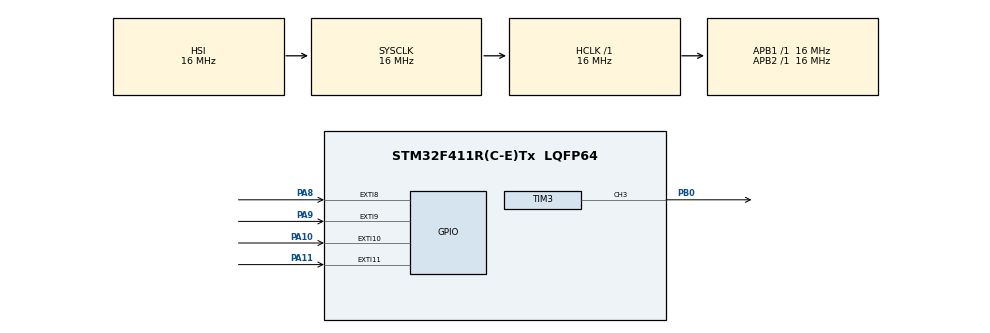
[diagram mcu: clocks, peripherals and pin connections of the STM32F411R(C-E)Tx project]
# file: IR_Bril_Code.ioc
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Mcu.Family=STM32F4
Mcu.Name=STM32F411R(C-E)Tx
Mcu.Package=LQFP64
NVIC.EXTI15_10_IRQn=true\:0\:0\:false\:false\:true\:true\:true\:true
NVIC.EXTI9_5_IRQn=true\:0\:0\:false\:false\:true\:true\:true\:true
NVIC.PriorityGroup=NVIC_PRIORITYGROUP_4
NVIC.TIM4_IRQn=true\:0\:0\:false\:false\:true\:true\:true\:true
PA10.GPIO_ModeDefaultEXTI=GPIO_MODE_IT_RISING_FALLING
PA10.GPIO_PuPd=GPIO_PULLUP
PA10.Signal=GPXTI10
PA11.GPIO_ModeDefaultEXTI=GPIO_MODE_IT_RISING_FALLING
PA11.GPIO_PuPd=GPIO_PULLUP
PA11.Signal=GPXTI11
PA8.GPIO_ModeDefaultEXTI=GPIO_MODE_IT_RISING_FALLING
PA8.GPIO_PuPd=GPIO_PULLUP
PA8.Signal=GPXTI8
PA9.GPIO_ModeDefaultEXTI=GPIO_MODE_IT_RISING_FALLING
PA9.GPIO_PuPd=GPIO_PULLUP
PA9.Signal=GPXTI9
PB0.Signal=S_TIM3_CH3
ProjectManager.HeapSize=0x200
ProjectManager.StackSize=0x400
ProjectManager.TargetToolchain=STM32CubeIDE
RCC.AHBFreq_Value=16000000
RCC.APB1Freq_Value=16000000
RCC.APB2Freq_Value=16000000
RCC.CortexFreq_Value=16000000
RCC.HSE_VALUE=25000000
RCC.HSI_VALUE=16000000
RCC.LSE_VALUE=32768
RCC.SYSCLKFreq_VALUE=16000000
RCC.VCOOutputFreq_Value=192000000
SH.S_TIM3_CH3.0=TIM3_CH3,PWM Generation3 CH3
TIM1.AutoReloadPreload=TIM_AUTORELOAD_PRELOAD_ENABLE
TIM1.Prescaler=16-1
TIM3.AutoReloadPreload=TIM_AUTORELOAD_PRELOAD_ENABLE
TIM3.Channel-PWM\ Generation3\ CH3=TIM_CHANNEL_3
TIM3.OC3Preload_PWM=DISABLE
TIM3.Period=10000-1
TIM3.Prescaler=16-1
TIM4.Period=10000
TIM4.Prescaler=16
VP_TIM1_VS_ClockSourceINT.Mode=Internal
VP_TIM3_VS_ClockSourceINT.Mode=Internal
VP_TIM4_VS_ClockSourceINT.Mode=Internal
VP_TIM5_VS_ClockSourceINT.Mode=Internal
board=custom

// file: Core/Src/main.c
/* USER CODE BEGIN Header */
/**
 ******************************************************************************
 * @file           : main.c
 * @brief          : Main program body
 ******************************************************************************
 * @attention
 *
 * Copyright (c) 2024 STMicroelectronics.
 * All rights reserved.
 *
 * This software is licensed under terms that can be found in the LICENSE file
 * in the root directory of this software component.
 * If no LICENSE file comes with this software, it is provided AS-IS.
 *
 ******************************************************************************
 */
/* USER CODE END Header */
#include "main.h"

/* USER CODE BEGIN Includes */
#include <stdio.h>
#include <math.h>
/* USER CODE END Includes */

/* USER CODE BEGIN PM */
#define SHORT_LOWER 500
#define SHORT_UPPER 1500
#define LONG_LOWER 1500
#define LONG_UPPER 2500
#define CAPTURED_SIZE 16		// message size including single startbit
/* USER CODE END PM */

TIM_HandleTypeDef htim1;
TIM_HandleTypeDef htim3;
TIM_HandleTypeDef htim4;
TIM_HandleTypeDef htim5;

/* USER CODE BEGIN PV */
uint8_t PDLC_intensity = 0; // varies between 0 and 60
uint16_t PDLC_setpoint = 0;
uint16_t PDLC_realpoint = 0;

uint32_t debug_value = 0;

struct Receiver {
//	uint32_t data[CAPTURED_SIZE];
	uint16_t data;
	uint32_t time_start;		// 0
	uint32_t time_stop;			// 0
	uint8_t first_interrupt;	// 1
	uint32_t captured[64];
	uint8_t position;			// 0
	uint8_t bit_count;			// 0
	uint32_t state;				// 0
	uint32_t start_state;		// 0

	uint8_t timeout_counter;	// 0
} Receiver1, Receiver2, Receiver3, Receiver4;

uint8_t flags = 0;
/* USER CODE END PV */

void SystemClock_Config(void);
static void MX_GPIO_Init(void);
static void MX_TIM1_Init(void);
static void MX_TIM5_Init(void);
static void MX_TIM3_Init(void);
static void MX_TIM4_Init(void);

/* USER CODE BEGIN 0 */
void IR_Timeout(struct Receiver *Rec) {	// increments IR Receivers timeout counter and checks if timeout has reached threshold
	if (Rec->timeout_counter > TIMEOUT_THRESHOLD) {// checks if counter of timeout has reached threshold
		Rec->data = 0;					// resets data of receiver
	} else {
		Rec->timeout_counter++;		// increments counter of timeout
	}
}

void HAL_TIM_PeriodElapsedCallback(TIM_HandleTypeDef *htim) {
//	TIM3->CCR3 = (Receiver4.data >> 1) * 40;// !WIP! updates dutycycle of PDLC PWM from received data (only receiver4 for now)

	IR_Timeout(&Receiver1);	// handles calcs and compares for IR timeout of receiver
	IR_Timeout(&Receiver2);
	IR_Timeout(&Receiver3);
	IR_Timeout(&Receiver4);

	uint8_t PDLC_candidate = Receiver1.data >> 1;	// writes data to PDLC_Candidate
	if(Receiver2.data > PDLC_candidate && Receiver2.data < 502) {			// checks if data Receiver2 is greater than PDLC_candidate
		PDLC_candidate = Receiver2.data >> 1;		// updates PDLC_candidate
	}
	if(Receiver3.data > PDLC_candidate && Receiver3.data < 502) {			// checks if data Receiver3 is greater than PDLC_candidate
		PDLC_candidate = Receiver3.data >> 1;		// updates PDLC_candidate
	}
	if(Receiver4.data > PDLC_candidate && Receiver4.data < 502) {			// checks if data Receiver4 is greater than PDLC_candidate
		PDLC_candidate = Receiver4.data >> 1;		// updates PDLC_candidate
	}

	PDLC_setpoint = PDLC_candidate * 40;			// updates PDLC_setpoint with 40 times the PDLC_candidate

	debug_value = (1.0-exp((double)((PDLC_setpoint/10000.0)*-2.1)))*10000;
	PDLC_setpoint = debug_value;

	if (PDLC_realpoint < PDLC_setpoint){			// checks if PDLC_realpoint is less than PDLC_setpoint
			PDLC_realpoint+= FADEIN_SPEED;				// increments PDLC_realpoint with FADEIN_SPEED
		} else if (PDLC_realpoint > PDLC_setpoint){		// checks if PDLC_realpoint is greater than PDLC_setpoint
			PDLC_realpoint-= FADEIN_SPEED;				// decrements PDLC_realpoint with FADEIN_SPEED
		}
	TIM3->CCR3 = PDLC_realpoint;					// sets timer for new dutycycle
}		// linerisation:

void IR_Receive_Handler(struct Receiver *Rec) {
	int elapsed = 0;
	if (Rec->first_interrupt == 1) {	// only runs once
		Rec->time_start = TIM1->CNT;	// saves first start time
		Rec->first_interrupt = 0;
	} else {
		Rec->time_stop = TIM1->CNT;	// saves stop time
		if (Rec->time_start > Rec->time_stop) {	// checks if overflowed
			elapsed = (0xFFFF - Rec->time_start) + Rec->time_stop;// calcs elapsed time
		} else {
			elapsed = Rec->time_stop - Rec->time_start;	// calcs elapsed time
		}
		Rec->time_start = Rec->time_stop;// saves starttime to stop time for next interrupt
	}
	Rec->captured[Rec->position] = elapsed;	// output buffer for data

	if (Rec->start_state) {
		switch (Rec->state) {
		case 0:
			if (elapsed > SHORT_LOWER && elapsed < SHORT_UPPER) {// checks if elapsed short
				Rec->state = 1;
			} else {	// unexpected behaviour : exit statemachine and reset
//								Rec->state = 0;		// NOTE : if commented code works, if not it enters for some reason
//								Rec->bit_count = 0;
//								Rec->start_state = 0;
			}
			break;
		case 1:
			if (elapsed > SHORT_LOWER && elapsed < SHORT_UPPER) {// checks if elapsed short
				Rec->state = 2;
			} else if (elapsed > LONG_LOWER && elapsed < LONG_UPPER) {// checks if elapsed long
				Rec->state = 3;
			} else {	// unexpected behaviour : exit statemachine and reset
				Rec->state = 0;	// NOTE : if commented code works, if not it enters for some reason
				Rec->bit_count = 0;
				Rec->start_state = 0;
				break;
			}
			Rec->data |= 1 << Rec->bit_count;	// write to data
			Rec->bit_count++;// increment the count of the bits already received
			if (Rec->bit_count == CAPTURED_SIZE) {
				Rec->state = 0;
				Rec->bit_count = 0;
				Rec->start_state = 0;
				Rec->timeout_counter = 0;
			}
//			if (Rec->bit_count > CAPTURED_SIZE) {// unexpected behaviour : exit statemachine and reset
//				Rec->state = 0;
//				Rec->bit_count = 0;
//				Rec->start_state = 0;
//			}		// commented out because this case will not happen
			break;
		case 2:
			if (elapsed > SHORT_LOWER && elapsed < SHORT_UPPER) {// checks if elapsed short
				Rec->state = 1;
			} else {	// unexpected behaviour : exit statemachine and reset
				Rec->state = 0;
				Rec->bit_count = 0;
				Rec->start_state = 0;
			}
			break;
		case 3:
			if (elapsed > SHORT_LOWER && elapsed < SHORT_UPPER) {// checks if elapsed short
				Rec->state = 4;
			} else if (elapsed > LONG_LOWER && elapsed < LONG_UPPER) {// checks if elapsed long
				Rec->state = 1;
			} else {	// unexpected behaviour : exit statemachine and reset
				Rec->state = 0;
				Rec->bit_count = 0;
				Rec->start_state = 0;
				break;
			}
			Rec->data &= ~(1 << Rec->bit_count);	// write to data
			Rec->bit_count++;// increment the count of the bits already received
			if (Rec->bit_count == CAPTURED_SIZE) {
				Rec->state = 0;
				Rec->bit_count = 0;
				Rec->start_state = 0;
				Rec->timeout_counter = 0;
			}
//			if (Rec->bit_count > CAPTURED_SIZE) {// unexpected behaviour : exit statemachine and reset
//				Rec->state = 0;
//				Rec->bit_count = 0;
//				Rec->start_state = 0;
//			}		// commented out because this case will not happen
			break;
		case 4:
			if (elapsed > SHORT_LOWER && elapsed < SHORT_UPPER) {// checks if elapsed short
				Rec->state = 3;
			} else {	// unexpected behaviour : exit statemachine and reset
				Rec->state = 0;
				Rec->bit_count = 0;
				Rec->start_state = 0;
			}
			break;
		}

	}

	if (elapsed > 2500) {// checks if "breakfield" is detected and enables the statemachine
		Rec->start_state = 1;
	}

	Rec->position++;	// increments position of buffer
	if (Rec->position > 63) {// handles overflow of buffer, 63 is determined by size captured array
		Rec->position = 0;	// makes buffer circular
	}
}

void init_IR_receiver(struct Receiver *Rec_init) {// sets standard values for structs
	Rec_init->time_start = 0;			// 0
	Rec_init->time_stop = 0;			// 0
	Rec_init->first_interrupt = 1;		// 1
	Rec_init->position = 0;				// 0
	Rec_init->bit_count = 0;			// 0
	Rec_init->state = 0;				// 0
	Rec_init->start_state = 0;			// 0
	Rec_init->timeout_counter = 0;		// 0
}
/* USER CODE END 0 */

int main(void) {

	/* MCU Configuration--------------------------------------------------------*/

	/* Reset of all peripherals, Initializes the Flash interface and the Systick. */
	HAL_Init();

	/* USER CODE BEGIN Init */
	__HAL_RCC_TIM1_CLK_ENABLE();	// does not work without it
	TIM1->CR1 = TIM_CR1_CEN;	// does not work without it

	init_IR_receiver(&Receiver1);
	init_IR_receiver(&Receiver2);
	init_IR_receiver(&Receiver3);
	init_IR_receiver(&Receiver4);
	/* USER CODE END Init */

	/* Configure the system clock */
	SystemClock_Config();

	/* Initialize all configured peripherals */
	MX_GPIO_Init();
	MX_TIM1_Init();
	MX_TIM5_Init();
	MX_TIM3_Init();
	MX_TIM4_Init();
	/* USER CODE BEGIN 2 */
	if (HAL_TIM_Base_Start_IT(&htim3) != HAL_OK)// error handler for PDLC PWM
			{
		/* Starting Error */
		Error_Handler();
	}

	HAL_TIM_PWM_Start(&htim3, TIM_CHANNEL_3);

	if (HAL_TIM_Base_Start_IT(&htim4) != HAL_OK) {
		/* Starting Error */
		Error_Handler();
	}
	/* USER CODE END 2 */

	/* Infinite loop */
	while (1) {

		/* USER CODE BEGIN 3 */

//		TIM3->CCR3 = PDLC_intensity * 40;
//		// code for looping intensity from 0 to 250
//		if (PDLC_intensity > 250) {	// checks if PDLC_intensity is greater than 250
//			PDLC_intensity = 0;		// resets PDLC_intensity
//		} else {
//			PDLC_intensity++;		// increments PDLC_intensity
//		}
	}
	/* USER CODE END 3 */
}

void SystemClock_Config(void) {
	RCC_OscInitTypeDef RCC_OscInitStruct = { 0 };
	RCC_ClkInitTypeDef RCC_ClkInitStruct = { 0 };

	/** Configure the main internal regulator output voltage
	 */
	__HAL_RCC_PWR_CLK_ENABLE();
	__HAL_PWR_VOLTAGESCALING_CONFIG(PWR_REGULATOR_VOLTAGE_SCALE1);

	/** Initializes the RCC Oscillators according to the specified parameters
	 * in the RCC_OscInitTypeDef structure.
	 */
	RCC_OscInitStruct.OscillatorType = RCC_OSCILLATORTYPE_HSI;
	RCC_OscInitStruct.HSIState = RCC_HSI_ON;
	RCC_OscInitStruct.HSICalibrationValue = RCC_HSICALIBRATION_DEFAULT;
	RCC_OscInitStruct.PLL.PLLState = RCC_PLL_NONE;
	if (HAL_RCC_OscConfig(&RCC_OscInitStruct) != HAL_OK) {
		Error_Handler();
	}

	/** Initializes the CPU, AHB and APB buses clocks
	 */
	RCC_ClkInitStruct.ClockType = RCC_CLOCKTYPE_HCLK | RCC_CLOCKTYPE_SYSCLK
			| RCC_CLOCKTYPE_PCLK1 | RCC_CLOCKTYPE_PCLK2;
	RCC_ClkInitStruct.SYSCLKSource = RCC_SYSCLKSOURCE_HSI;
	RCC_ClkInitStruct.AHBCLKDivider = RCC_SYSCLK_DIV1;
	RCC_ClkInitStruct.APB1CLKDivider = RCC_HCLK_DIV1;
	RCC_ClkInitStruct.APB2CLKDivider = RCC_HCLK_DIV1;

	if (HAL_RCC_ClockConfig(&RCC_ClkInitStruct, FLASH_LATENCY_0) != HAL_OK) {
		Error_Handler();
	}
}

static void MX_TIM1_Init(void) {

	TIM_ClockConfigTypeDef sClockSourceConfig = { 0 };
	TIM_MasterConfigTypeDef sMasterConfig = { 0 };

	htim1.Instance = TIM1;
	htim1.Init.Prescaler = 16 - 1;
	htim1.Init.CounterMode = TIM_COUNTERMODE_UP;
	htim1.Init.Period = 65535;
	htim1.Init.ClockDivision = TIM_CLOCKDIVISION_DIV1;
	htim1.Init.RepetitionCounter = 0;
	htim1.Init.AutoReloadPreload = TIM_AUTORELOAD_PRELOAD_ENABLE;
	if (HAL_TIM_Base_Init(&htim1) != HAL_OK) {
		Error_Handler();
	}
	sClockSourceConfig.ClockSource = TIM_CLOCKSOURCE_INTERNAL;
	if (HAL_TIM_ConfigClockSource(&htim1, &sClockSourceConfig) != HAL_OK) {
		Error_Handler();
	}
	sMasterConfig.MasterOutputTrigger = TIM_TRGO_RESET;
	sMasterConfig.MasterSlaveMode = TIM_MASTERSLAVEMODE_DISABLE;
	if (HAL_TIMEx_MasterConfigSynchronization(&htim1, &sMasterConfig)
			!= HAL_OK) {
		Error_Handler();
	}

}

static void MX_TIM3_Init(void) {

	TIM_ClockConfigTypeDef sClockSourceConfig = { 0 };
	TIM_MasterConfigTypeDef sMasterConfig = { 0 };
	TIM_OC_InitTypeDef sConfigOC = { 0 };

	htim3.Instance = TIM3;
	htim3.Init.Prescaler = 16 - 1;
	htim3.Init.CounterMode = TIM_COUNTERMODE_UP;
	htim3.Init.Period = 10000 - 1;
	htim3.Init.ClockDivision = TIM_CLOCKDIVISION_DIV1;
	htim3.Init.AutoReloadPreload = TIM_AUTORELOAD_PRELOAD_ENABLE;
	if (HAL_TIM_Base_Init(&htim3) != HAL_OK) {
		Error_Handler();
	}
	sClockSourceConfig.ClockSource = TIM_CLOCKSOURCE_INTERNAL;
	if (HAL_TIM_ConfigClockSource(&htim3, &sClockSourceConfig) != HAL_OK) {
		Error_Handler();
	}
	if (HAL_TIM_PWM_Init(&htim3) != HAL_OK) {
		Error_Handler();
	}
	sMasterConfig.MasterOutputTrigger = TIM_TRGO_RESET;
	sMasterConfig.MasterSlaveMode = TIM_MASTERSLAVEMODE_DISABLE;
	if (HAL_TIMEx_MasterConfigSynchronization(&htim3, &sMasterConfig)
			!= HAL_OK) {
		Error_Handler();
	}
	sConfigOC.OCMode = TIM_OCMODE_PWM1;
	sConfigOC.Pulse = 0;
	sConfigOC.OCPolarity = TIM_OCPOLARITY_HIGH;
	sConfigOC.OCFastMode = TIM_OCFAST_DISABLE;
	if (HAL_TIM_PWM_ConfigChannel(&htim3, &sConfigOC, TIM_CHANNEL_3)
			!= HAL_OK) {
		Error_Handler();
	}
	__HAL_TIM_DISABLE_OCxPRELOAD(&htim3, TIM_CHANNEL_3);
	HAL_TIM_MspPostInit(&htim3);

}

static void MX_TIM4_Init(void) {

	TIM_ClockConfigTypeDef sClockSourceConfig = { 0 };
	TIM_MasterConfigTypeDef sMasterConfig = { 0 };

	htim4.Instance = TIM4;
	htim4.Init.Prescaler = 16;
	htim4.Init.CounterMode = TIM_COUNTERMODE_UP;
	htim4.Init.Period = 10000;
	htim4.Init.ClockDivision = TIM_CLOCKDIVISION_DIV1;
	htim4.Init.AutoReloadPreload = TIM_AUTORELOAD_PRELOAD_DISABLE;
	if (HAL_TIM_Base_Init(&htim4) != HAL_OK) {
		Error_Handler();
	}
	sClockSourceConfig.ClockSource = TIM_CLOCKSOURCE_INTERNAL;
	if (HAL_TIM_ConfigClockSource(&htim4, &sClockSourceConfig) != HAL_OK) {
		Error_Handler();
	}
	sMasterConfig.MasterOutputTrigger = TIM_TRGO_RESET;
	sMasterConfig.MasterSlaveMode = TIM_MASTERSLAVEMODE_DISABLE;
	if (HAL_TIMEx_MasterConfigSynchronization(&htim4, &sMasterConfig)
			!= HAL_OK) {
		Error_Handler();
	}

}

static void MX_TIM5_Init(void) {

	TIM_ClockConfigTypeDef sClockSourceConfig = { 0 };
	TIM_MasterConfigTypeDef sMasterConfig = { 0 };

	htim5.Instance = TIM5;
	htim5.Init.Prescaler = 0;
	htim5.Init.CounterMode = TIM_COUNTERMODE_UP;
	htim5.Init.Period = 4294967295;
	htim5.Init.ClockDivision = TIM_CLOCKDIVISION_DIV1;
	htim5.Init.AutoReloadPreload = TIM_AUTORELOAD_PRELOAD_DISABLE;
	if (HAL_TIM_Base_Init(&htim5) != HAL_OK) {
		Error_Handler();
	}
	sClockSourceConfig.ClockSource = TIM_CLOCKSOURCE_INTERNAL;
	if (HAL_TIM_ConfigClockSource(&htim5, &sClockSourceConfig) != HAL_OK) {
		Error_Handler();
	}
	sMasterConfig.MasterOutputTrigger = TIM_TRGO_RESET;
	sMasterConfig.MasterSlaveMode = TIM_MASTERSLAVEMODE_DISABLE;
	if (HAL_TIMEx_MasterConfigSynchronization(&htim5, &sMasterConfig)
			!= HAL_OK) {
		Error_Handler();
	}

}

static void MX_GPIO_Init(void) {
	GPIO_InitTypeDef GPIO_InitStruct = { 0 };

	/* GPIO Ports Clock Enable */
	__HAL_RCC_GPIOB_CLK_ENABLE();
	__HAL_RCC_GPIOA_CLK_ENABLE();

	/*Configure GPIO pins : PA8 PA9 PA10 PA11 */
	GPIO_InitStruct.Pin = GPIO_PIN_8 | GPIO_PIN_9 | GPIO_PIN_10 | GPIO_PIN_11;
	GPIO_InitStruct.Mode = GPIO_MODE_IT_RISING_FALLING;
	GPIO_InitStruct.Pull = GPIO_PULLUP;
	HAL_GPIO_Init(GPIOA, &GPIO_InitStruct);

	/* EXTI interrupt init*/
	HAL_NVIC_SetPriority(EXTI9_5_IRQn, 0, 0);
	HAL_NVIC_EnableIRQ(EXTI9_5_IRQn);

	HAL_NVIC_SetPriority(EXTI15_10_IRQn, 0, 0);
	HAL_NVIC_EnableIRQ(EXTI15_10_IRQn);

}

/* USER CODE BEGIN 4 */
void HAL_GPIO_EXTI_Callback(uint16_t GPIO_Pin) {
	switch (GPIO_Pin) {
	case GPIO_PIN_8:	// case for pin 8
		IR_Receive_Handler(&Receiver1);	// function to handle the IR data
		break;
	case GPIO_PIN_9:	// case for pin 5 different for PCB
		IR_Receive_Handler(&Receiver2);	// function to handle the IR data
		break;
	case GPIO_PIN_10:	// case for pin 10
		IR_Receive_Handler(&Receiver3);	// function to handle the IR data
		break;
	case GPIO_PIN_11:	// case for pin 6 different for PCB
		IR_Receive_Handler(&Receiver4);	// function to handle the IR data
		break;
	}
}
/* USER CODE END 4 */

void Error_Handler(void) {
	__disable_irq();
	while (1) {
	}
}
